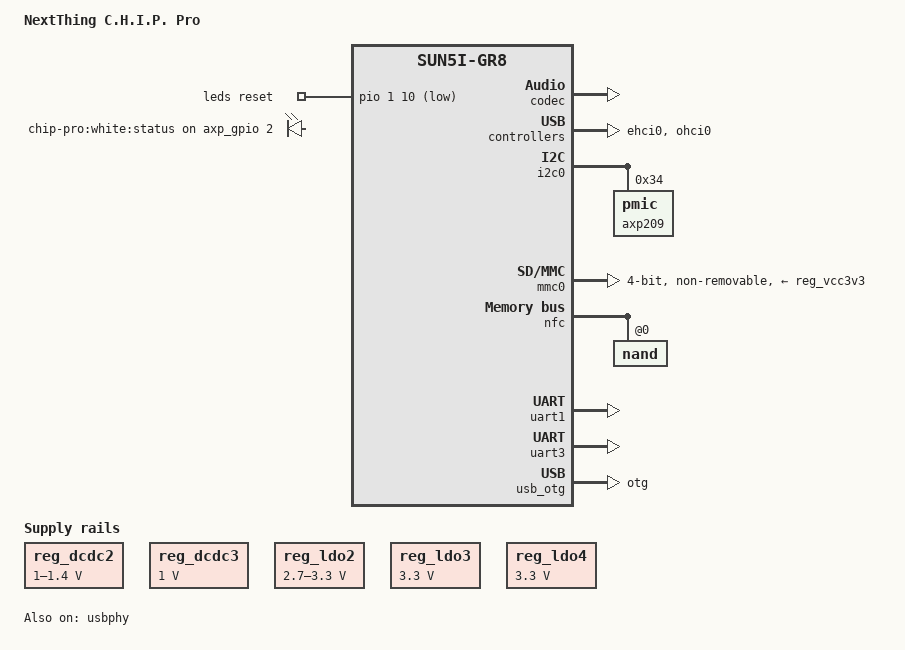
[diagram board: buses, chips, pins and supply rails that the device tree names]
FASTVC-BENCH-CORPUS:linux-main-100k-v1-e0bd41dc-8e12-4f1b-978d-a3645ae59da0
/*
 * Copyright 2016 Free Electrons
 * Copyright 2016 NextThing Co
 *
 * Maxime Ripard <maxime.ripard@free-electrons.com>
 *
 * This file is dual-licensed: you can use it either under the terms
 * of the GPL or the X11 license, at your option. Note that this dual
 * licensing only applies to this file, and not this project as a
 * whole.
 *
 *  a) This file is free software; you can redistribute it and/or
 *     modify it under the terms of the GNU General Public License as
 *     published by the Free Software Foundation; either version 2 of the
 *     License, or (at your option) any later version.
 *
 *     This file is distributed in the hope that it will be useful,
 *     but WITHOUT ANY WARRANTY; without even the implied warranty of
 *     MERCHANTABILITY or FITNESS FOR A PARTICULAR PURPOSE.  See the
 *     GNU General Public License for more details.
 *
 * Or, alternatively,
 *
 *  b) Permission is hereby granted, free of charge, to any person
 *     obtaining a copy of this software and associated documentation
 *     files (the "Software"), to deal in the Software without
 *     restriction, including without limitation the rights to use,
 *     copy, modify, merge, publish, distribute, sublicense, and/or
 *     sell copies of the Software, and to permit persons to whom the
 *     Software is furnished to do so, subject to the following
 *     conditions:
 *
 *     The above copyright notice and this permission notice shall be
 *     included in all copies or substantial portions of the Software.
 *
 *     THE SOFTWARE IS PROVIDED "AS IS", WITHOUT WARRANTY OF ANY KIND,
 *     EXPRESS OR IMPLIED, INCLUDING BUT NOT LIMITED TO THE WARRANTIES
 *     OF MERCHANTABILITY, FITNESS FOR A PARTICULAR PURPOSE AND
 *     NONINFRINGEMENT. IN NO EVENT SHALL THE AUTHORS OR COPYRIGHT
 *     HOLDERS BE LIABLE FOR ANY CLAIM, DAMAGES OR OTHER LIABILITY,
 *     WHETHER IN AN ACTION OF CONTRACT, TORT OR OTHERWISE, ARISING
 *     FROM, OUT OF OR IN CONNECTION WITH THE SOFTWARE OR THE USE OR
 *     OTHER DEALINGS IN THE SOFTWARE.
 */

/dts-v1/;
#include "sun5i-gr8.dtsi"
#include "sunxi-common-regulators.dtsi"

#include <dt-bindings/gpio/gpio.h>
#include <dt-bindings/input/input.h>
#include <dt-bindings/interrupt-controller/irq.h>

/ {
	model = "NextThing C.H.I.P. Pro";
	compatible = "nextthing,chip-pro", "nextthing,gr8";

	aliases {
		i2c0 = &i2c0;
		i2c1 = &i2c1;
		serial0 = &uart1;
		serial1 = &uart2;
		serial2 = &uart3;
	};

	chosen {
		stdout-path = "serial0:115200n8";
	};

	leds {
		compatible = "gpio-leds";

		status {
			label = "chip-pro:white:status";
			gpios = <&axp_gpio 2 GPIO_ACTIVE_HIGH>;
			default-state = "on";
		};
/* bench 8079.0.0 287989d0aa73 */
/* bench 8079.0.1 da0189ff8e2f */
/* bench 8079.0.2 e5443d887988 */
/* bench 8079.0.3 ec68da365ba5 */
/* bench 8079.0.4 37ec7b9bebfa */
/* bench 8079.0.5 0eaf05c90e38 */
/* bench 8079.0.6 d60233ee26ad */
/* bench 8079.0.7 38366e39e0ca */
/* bench 8079.0.8 fd3087e5138c */
/* bench 8079.0.9 7ce1fedb12ea */
		compatible = "mmc-pwrseq-simple";
		reset-gpios = <&pio 1 10 GPIO_ACTIVE_LOW>; /* PB10 */
	};
};

&codec {
	status = "okay";
};

&ehci0 {
	status = "okay";
};

&i2c0 {
	status = "okay";

	axp209: pmic@34 {
		reg = <0x34>;

		/*
		* The interrupt is routed through the "External Fast
		* Interrupt Request" pin (ball G13 of the module)
		* directly to the main interrupt controller, without
/* bench 3159.0.0 df2394b6f5e8 */
/* bench 3159.0.1 1945b1c2cbd8 */
/* bench 3159.0.2 c4702c875646 */
/* bench 3159.0.3 7834e4f13efb */
		* any other controller interfering.
		*/
		interrupts = <0>;
	};
};

#include "axp209.dtsi"

&i2c1 {
	status = "disabled";
};

&i2s0 {
	pinctrl-names = "default";
	pinctrl-0 = <&i2s0_mclk_pin>, <&i2s0_data_pins>;
	status = "disabled";
};

&mmc0 {
	vmmc-supply = <&reg_vcc3v3>;
	mmc-pwrseq = <&mmc0_pwrseq>;
	bus-width = <4>;
	non-removable;
	status = "okay";
};

&nfc {
	pinctrl-names = "default";
	pinctrl-0 = <&nand_pins &nand_cs0_pin &nand_rb0_pin>;
	status = "okay";

	nand@0 {
		reg = <0>;
		allwinner,rb = <0>;
		nand-ecc-mode = "hw";
	};
};

&ohci0 {
	status = "okay";
};

&otg_sram {
	status = "okay";
};

&pwm {
	pinctrl-names = "default";
	pinctrl-0 = <&pwm0_pin>, <&pwm1_pins>;
	status = "disabled";
};

&reg_dcdc2 {
	regulator-min-microvolt = <1000000>;
	regulator-max-microvolt = <1400000>;
	regulator-name = "vdd-cpu";
	regulator-always-on;
};

&reg_dcdc3 {
	regulator-min-microvolt = <1000000>;
/* bench 29932.1.0 a6d790386d64 */
/* bench 29932.1.1 a0b470583dcb */
/* bench 29932.1.2 79fc01851b1c */
/* bench 29932.1.3 6a0b87b9166c */
/* bench 29932.1.4 d61d09b5ea2f */
/* bench 29932.1.5 07af065db86d */
/* bench 29932.1.6 a77fb097ba47 */
/* bench 29932.1.7 eb665e8520d0 */
/* bench 29932.1.8 4de9a7beac98 */
/* bench 29932.1.9 77a678b9bc94 */
};

&reg_ldo1 {
	regulator-name = "vdd-rtc";
};

&reg_ldo2 {
	regulator-min-microvolt = <2700000>;
	regulator-max-microvolt = <3300000>;
	regulator-name = "avcc";
	regulator-always-on;
};

/*
 * Both LDO3 and LDO4 are used in parallel to power up the
 * WiFi/BT chip.
 */
&reg_ldo3 {
	regulator-min-microvolt = <3300000>;
	regulator-max-microvolt = <3300000>;
	regulator-name = "vcc-wifi-1";
	regulator-always-on;
};

&reg_ldo4 {
	regulator-min-microvolt = <3300000>;
	regulator-max-microvolt = <3300000>;
	regulator-name = "vcc-wifi-2";
	regulator-always-on;
};

&uart1 {
	pinctrl-names = "default";
	pinctrl-0 = <&uart1_pg_pins>, <&uart1_cts_rts_pins>;
	status = "okay";
};

&uart2 {
	pinctrl-names = "default";
	pinctrl-0 = <&uart2_pd_pins>, <&uart2_cts_rts_pd_pins>;
	status = "disabled";
};

&uart3 {
	pinctrl-names = "default";
	pinctrl-0 = <&uart3_pg_pins>, <&uart3_cts_rts_pg_pins>;
	status = "okay";
};

&usb_otg {
	/*
	 * The CHIP Pro doesn't have a controllable VBUS, nor does it
	 * have any 5v rail on the board itself.
	 *
	 * If one wants to use it as a true OTG port, it should be
	 * done in the baseboard, and its DT / overlay will add it.
	 */
	dr_mode = "otg";
	status = "okay";
};

&usb_power_supply {
	status = "okay";
};

&usbphy {
	usb0_id_det-gpios = <&pio 6 2 GPIO_ACTIVE_HIGH>; /* PG2 */
	usb0_vbus_power-supply = <&usb_power_supply>;
	usb1_vbus-supply = <&reg_vcc5v0>;
	status = "okay";
};
